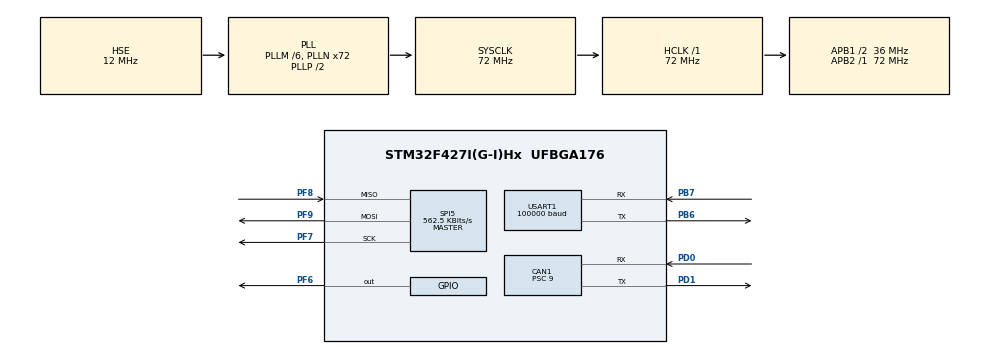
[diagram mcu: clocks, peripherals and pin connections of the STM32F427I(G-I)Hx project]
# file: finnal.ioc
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CAN1.BS1=CAN_BS1_2TQ
CAN1.CalculateBaudRate=1000000
CAN1.CalculateTimeBit=1000.00
CAN1.CalculateTimeQuantum=250.0
CAN1.NART=ENABLE
CAN1.Prescaler=9
CAN1.TXFP=ENABLE
Dma.Request0=USART1_RX
Dma.USART1_RX.0.Direction=DMA_PERIPH_TO_MEMORY
Dma.USART1_RX.0.FIFOMode=DMA_FIFOMODE_DISABLE
Dma.USART1_RX.0.Instance=DMA2_Stream2
Dma.USART1_RX.0.MemDataAlignment=DMA_MDATAALIGN_BYTE
Dma.USART1_RX.0.MemInc=DMA_MINC_ENABLE
Dma.USART1_RX.0.Mode=DMA_NORMAL
Dma.USART1_RX.0.PeriphDataAlignment=DMA_PDATAALIGN_BYTE
Dma.USART1_RX.0.PeriphInc=DMA_PINC_DISABLE
Dma.USART1_RX.0.Priority=DMA_PRIORITY_VERY_HIGH
Mcu.Family=STM32F4
Mcu.Name=STM32F427I(G-I)Hx
Mcu.Package=UFBGA176
NVIC.CAN1_RX0_IRQn=true\:0\:0\:false\:false\:true\:true\:true
NVIC.DMA2_Stream2_IRQn=true\:0\:0\:false\:false\:true\:false\:true
NVIC.FLASH_IRQn=true\:0\:0\:false\:false\:true\:true\:true
NVIC.FPU_IRQn=true\:0\:0\:false\:false\:true\:true\:false
NVIC.PriorityGroup=NVIC_PRIORITYGROUP_4
NVIC.RCC_IRQn=true\:0\:0\:false\:false\:true\:true\:false
NVIC.SPI5_IRQn=true\:0\:0\:false\:false\:true\:true\:true
NVIC.TIM2_IRQn=true\:0\:0\:false\:false\:true\:true\:true
NVIC.USART1_IRQn=true\:0\:0\:false\:false\:true\:true\:true
PA13.Mode=Serial_Wire
PA13.Signal=SYS_JTMS-SWDIO
PA14.Mode=Serial_Wire
PA14.Signal=SYS_JTCK-SWCLK
PB6.Mode=Asynchronous
PB6.Signal=USART1_TX
PB7.Mode=Asynchronous
PB7.Signal=USART1_RX
PD0.Mode=CAN_Activate
PD0.Signal=CAN1_RX
PD1.Mode=CAN_Activate
PD1.Signal=CAN1_TX
PF6.GPIO_Speed=GPIO_SPEED_FREQ_HIGH
PF6.Signal=GPIO_Output
PF7.Mode=Full_Duplex_Master
PF7.Signal=SPI5_SCK
PF8.Mode=Full_Duplex_Master
PF8.Signal=SPI5_MISO
PF9.Mode=Full_Duplex_Master
PF9.Signal=SPI5_MOSI
PH0/OSC_IN.Mode=HSE-External-Oscillator
PH0/OSC_IN.Signal=RCC_OSC_IN
PH1/OSC_OUT.Mode=HSE-External-Oscillator
PH1/OSC_OUT.Signal=RCC_OSC_OUT
ProjectManager.HeapSize=0x200
ProjectManager.StackSize=0x400
ProjectManager.TargetToolchain=MDK-ARM V5.27
RCC.48MHZClocksFreq_Value=36000000
RCC.AHBFreq_Value=72000000
RCC.APB1CLKDivider=RCC_HCLK_DIV2
RCC.APB1Freq_Value=36000000
RCC.APB1TimFreq_Value=72000000
RCC.APB2Freq_Value=72000000
RCC.APB2TimFreq_Value=72000000
RCC.CortexFreq_Value=72000000
RCC.HCLKFreq_Value=72000000
RCC.HSE_VALUE=12000000
RCC.HSI_VALUE=16000000
RCC.LSE_VALUE=32768
RCC.PLLM=6
RCC.PLLN=72
RCC.PLLSourceVirtual=RCC_PLLSOURCE_HSE
RCC.SYSCLKFreq_VALUE=72000000
RCC.SYSCLKSource=RCC_SYSCLKSOURCE_PLLCLK
RCC.VCOOutputFreq_Value=144000000
SPI5.BaudRatePrescaler=SPI_BAUDRATEPRESCALER_128
SPI5.CLKPhase=SPI_PHASE_2EDGE
SPI5.CLKPolarity=SPI_POLARITY_HIGH
SPI5.CalculateBaudRate=562.5 KBits/s
SPI5.Direction=SPI_DIRECTION_2LINES
SPI5.Mode=SPI_MODE_MASTER
SPI5.VirtualType=VM_MASTER
TIM2.Period=7199
TIM2.Prescaler=19
USART1.BaudRate=100000
USART1.Mode=MODE_RX
USART1.Parity=PARITY_EVEN
USART1.VirtualMode=VM_ASYNC
USART1.WordLength=WORDLENGTH_9B
VP_TIM2_VS_ClockSourceINT.Mode=Internal
board=custom

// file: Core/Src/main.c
/* USER CODE BEGIN Header */
/**
  ******************************************************************************
  * @file           : main.c
  * @brief          : Main program body
  ******************************************************************************
  * @attention
  *
  * <h2><center>&copy; Copyright (c) 2024 STMicroelectronics.
  * All rights reserved.</center></h2>
  *
  * This software component is licensed by ST under BSD 3-Clause license,
  * the "License"; You may not use this file except in compliance with the
  * License. You may obtain a copy of the License at:
  *                        opensource.org/licenses/BSD-3-Clause
  *
  ******************************************************************************
  */
/* USER CODE END Header */
#include "main.h"
#include "can.h"
#include "dma.h"
#include "spi.h"
#include "tim.h"
#include "usart.h"
#include "gpio.h"

/* USER CODE BEGIN Includes */
#include "rc.h"
#include "wheat wheel.h"
#include "quaternion.h"
#include "imu_data_analysis.h"
#include "can_set.h"
#include "callback.h"
/* USER CODE END Includes */

/* USER CODE BEGIN PV */
extern DMA_HandleTypeDef hdma_usart1_rx;
/* USER CODE END PV */

void SystemClock_Config(void);
/* USER CODE BEGIN PFP */

/*结构体命名*/

 CAN_RxHeaderTypeDef rx_header;
 CAN_FilterTypeDef can_filter_structer;
 CAN_TxHeaderTypeDef can_handle_structer;
 PID pid_moto1;
 PID pid_moto2;
 PID pid_moto3;
 PID pid_moto4;
 PID pid_angle;
 PID pid_speed;
 moto_measure_t act_motor1;
 moto_measure_t act_motor2;
 moto_measure_t act_motor3;
 moto_measure_t act_motor4;
extern Robot robot;
extern rc rc_ctrl;
/*变量命名*/

uint8_t recievedata2[18];
uint8_t recievedata1[18];
uint8_t rx_data[8] = {0};
uint8_t send[10] ={0};
uint32_t send_mail_box;
int tar_x,tar_y,tar_turn,a = 0,flag_rc = 0;
float error, kp = 30, ki = 0, kd = 3,aim_angle;
float angle_goal;
extern IMU_T  IMU;

/*函数声明*/

/* USER CODE END PFP */

int main(void)
{

  /* MCU Configuration--------------------------------------------------------*/

  /* Reset of all peripherals, Initializes the Flash interface and the Systick. */
  HAL_Init();

  /* Configure the system clock */
  SystemClock_Config();

  /* Initialize all configured peripherals */
  MX_GPIO_Init();
  MX_DMA_Init();
  MX_CAN1_Init();
  MX_TIM2_Init();
  MX_USART1_UART_Init();
  MX_SPI5_Init();
  /* USER CODE BEGIN 2 */

	can_filter_init();

	PID_Init(&pid_moto1,kp,ki,kd, 500, 1000,2000);
	PID_Init(&pid_moto2,kp,ki,kd, 500, 1000,2000);
	PID_Init(&pid_moto3,kp,ki,kd, 500, 1000,2000);
	PID_Init(&pid_moto4,kp,ki,kd, 500, 1000,2000);
	PID_Init(&pid_angle, 5, 0, 2, 500, 400, 2000);

	mpu_device_init();

	HAL_TIM_Base_Start_IT(&htim2);/*电机*/
	aim_angle = IMU.quaternion.yaw;
	HAL_UARTEx_ReceiveToIdle_DMA(&huart1, recievedata1, 36);
	__HAL_DMA_DISABLE_IT(&hdma_usart1_rx,DMA_IT_HT);
  /* USER CODE END 2 */

  /* Infinite loop */
  while (1)
  {

  }
}

void SystemClock_Config(void)
{
  RCC_OscInitTypeDef RCC_OscInitStruct = {0};
  RCC_ClkInitTypeDef RCC_ClkInitStruct = {0};

  /** Configure the main internal regulator output voltage
  */
  __HAL_RCC_PWR_CLK_ENABLE();
  __HAL_PWR_VOLTAGESCALING_CONFIG(PWR_REGULATOR_VOLTAGE_SCALE3);
  /** Initializes the RCC Oscillators according to the specified parameters
  * in the RCC_OscInitTypeDef structure.
  */
  RCC_OscInitStruct.OscillatorType = RCC_OSCILLATORTYPE_HSE;
  RCC_OscInitStruct.HSEState = RCC_HSE_ON;
  RCC_OscInitStruct.PLL.PLLState = RCC_PLL_ON;
  RCC_OscInitStruct.PLL.PLLSource = RCC_PLLSOURCE_HSE;
  RCC_OscInitStruct.PLL.PLLM = 6;
  RCC_OscInitStruct.PLL.PLLN = 72;
  RCC_OscInitStruct.PLL.PLLP = RCC_PLLP_DIV2;
  RCC_OscInitStruct.PLL.PLLQ = 4;
  if (HAL_RCC_OscConfig(&RCC_OscInitStruct) != HAL_OK)
  {
    Error_Handler();
  }
  /** Initializes the CPU, AHB and APB buses clocks
  */
  RCC_ClkInitStruct.ClockType = RCC_CLOCKTYPE_HCLK|RCC_CLOCKTYPE_SYSCLK
                              |RCC_CLOCKTYPE_PCLK1|RCC_CLOCKTYPE_PCLK2;
  RCC_ClkInitStruct.SYSCLKSource = RCC_SYSCLKSOURCE_PLLCLK;
  RCC_ClkInitStruct.AHBCLKDivider = RCC_SYSCLK_DIV1;
  RCC_ClkInitStruct.APB1CLKDivider = RCC_HCLK_DIV2;
  RCC_ClkInitStruct.APB2CLKDivider = RCC_HCLK_DIV1;

  if (HAL_RCC_ClockConfig(&RCC_ClkInitStruct, FLASH_LATENCY_2) != HAL_OK)
  {
    Error_Handler();
  }
}

/* USER CODE BEGIN 4 */
/*************************************************************************************************************
因未知bug 陀螺仪的获取必须在main中才可以正常运行。
*************************************************************************************************************/
void HAL_TIM_PeriodElapsedCallback(TIM_HandleTypeDef *htim)
{
	if(htim == &htim2)/*2ms*/
	{

		a++;
		if(flag_rc)
		{

			mpu_get_data();
			send_data(send, rc_ctrl.mode);
			can_send_data(send);
		}
		else
		{
			motorset(0, 0, 0, 0);
			can_send_data(send);
		}
		if(a >= 75)
		{
			a = 0;
			flag_rc = 0;
		}
	}
}

/* USER CODE END 4 */

void Error_Handler(void)
{
  __disable_irq();
  while (1)
  {
  }
}

/************************ (C) COPYRIGHT STMicroelectronics *****END OF FILE****/
